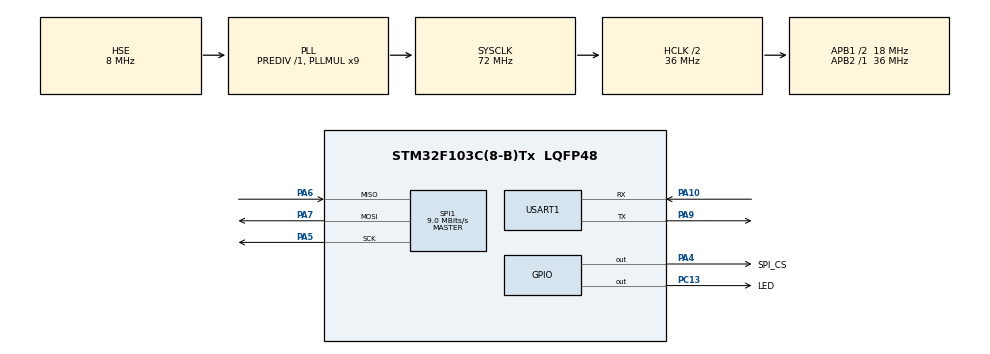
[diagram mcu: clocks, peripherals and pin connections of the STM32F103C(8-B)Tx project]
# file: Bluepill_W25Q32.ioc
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Mcu.Family=STM32F1
Mcu.Name=STM32F103C(8-B)Tx
Mcu.Package=LQFP48
NVIC.PriorityGroup=NVIC_PRIORITYGROUP_4
PA10.Mode=Asynchronous
PA10.Signal=USART1_RX
PA4.GPIO_Label=SPI_CS
PA4.GPIO_ModeDefaultOutputPP=GPIO_MODE_OUTPUT_PP
PA4.GPIO_PuPd=GPIO_NOPULL
PA4.Signal=GPIO_Output
PA5.Mode=Full_Duplex_Master
PA5.Signal=SPI1_SCK
PA6.Mode=Full_Duplex_Master
PA6.Signal=SPI1_MISO
PA7.Mode=Full_Duplex_Master
PA7.Signal=SPI1_MOSI
PA9.Mode=Asynchronous
PA9.Signal=USART1_TX
PC13-TAMPER-RTC.GPIO_Label=LED
PC13-TAMPER-RTC.GPIO_ModeDefaultOutputPP=GPIO_MODE_OUTPUT_OD
PC13-TAMPER-RTC.GPIO_PuPd=GPIO_NOPULL
PC13-TAMPER-RTC.PinState=GPIO_PIN_SET
PC13-TAMPER-RTC.Signal=GPIO_Output
PD0-OSC_IN.Mode=HSE-External-Oscillator
PD0-OSC_IN.Signal=RCC_OSC_IN
PD1-OSC_OUT.Mode=HSE-External-Oscillator
PD1-OSC_OUT.Signal=RCC_OSC_OUT
ProjectManager.HeapSize=0x200
ProjectManager.StackSize=0x400
ProjectManager.TargetToolchain=STM32CubeIDE
RCC.AHBCLKDivider=RCC_SYSCLK_DIV2
RCC.AHBFreq_Value=36000000
RCC.APB1CLKDivider=RCC_HCLK_DIV2
RCC.APB1Freq_Value=18000000
RCC.APB1TimFreq_Value=36000000
RCC.APB2Freq_Value=36000000
RCC.APB2TimFreq_Value=36000000
RCC.HCLKFreq_Value=36000000
RCC.PLLMUL=RCC_PLL_MUL9
RCC.PLLSourceVirtual=RCC_PLLSOURCE_HSE
RCC.SYSCLKFreq_VALUE=72000000
RCC.SYSCLKSource=RCC_SYSCLKSOURCE_PLLCLK
RCC.USBFreq_Value=72000000
SPI1.BaudRatePrescaler=SPI_BAUDRATEPRESCALER_4
SPI1.CalculateBaudRate=9.0 MBits/s
SPI1.Direction=SPI_DIRECTION_2LINES
SPI1.Mode=SPI_MODE_MASTER
SPI1.VirtualType=VM_MASTER
USART1.VirtualMode=VM_ASYNC
VP_SYS_VS_ND.Mode=No_Debug
board=custom

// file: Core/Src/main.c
/* USER CODE BEGIN Header */
/**
  ******************************************************************************
  * @file           : main.c
  * @brief          : Main program body
  ******************************************************************************
  * @attention
  *
  * Copyright (c) 2026 STMicroelectronics.
  * All rights reserved.
  *
  * This software is licensed under terms that can be found in the LICENSE file
  * in the root directory of this software component.
  * If no LICENSE file comes with this software, it is provided AS-IS.
  *
  ******************************************************************************
  */
/* USER CODE END Header */
#include "main.h"

/* USER CODE BEGIN Includes */
#include "W25Q32.h"
#include <stdio.h>
#include <string.h>
/* USER CODE END Includes */

SPI_HandleTypeDef hspi1;

UART_HandleTypeDef huart1;

void SystemClock_Config(void);
static void MX_GPIO_Init(void);
static void MX_SPI1_Init(void);
static void MX_USART1_UART_Init(void);

/* USER CODE BEGIN 0 */
int _write(int fd, char *ptr, int len) {
    HAL_StatusTypeDef hstatus;

    if (fd == 1 || fd == 2) {
        hstatus = HAL_UART_Transmit(&huart1, (uint8_t*) ptr, len, HAL_MAX_DELAY);
        if (hstatus == HAL_OK)
            return len;
        else
            return -1;
    }
    return -1;
}

/* USER CODE END 0 */

int main(void)
{

  /* MCU Configuration--------------------------------------------------------*/

  /* Reset of all peripherals, Initializes the Flash interface and the Systick. */
  HAL_Init();

  /* Configure the system clock */
  SystemClock_Config();

  /* Initialize all configured peripherals */
  MX_GPIO_Init();
  MX_SPI1_Init();
  MX_USART1_UART_Init();
  /* USER CODE BEGIN 2 */
  printf("------Start------\r\n");

  W25Q32_init();
  uint32_t flashID;
  flashID=W25Q32_ReadID();
  W25_DBG("Flash JEDEC ID= %#lX\r\n\n\n", flashID);

  //Writing and reading test data
  uint8_t test_data_write[64]="The name is Kishan, Jagakishan.";
  uint8_t test_data_recieve_buffer[64];

  HAL_Delay(1000);
  W25_DBG("Sector erasing...\r\n");
  W25Q32_SectorErase(0x000000);
  W25_DBG("Sector erased at 0x000000\r\n\n\n");

  HAL_Delay(1000);
  W25_DBG("Writing test data....\r\n");
  W25Q32_Write(0x000000, test_data_write, 64);
  W25_DBG("Test data written!\r\n\n\n");

  HAL_Delay(1000);
  W25_DBG("Receiving test data....\r\n");
  W25Q32_Read(0x000000, test_data_recieve_buffer, 64);
  W25_DBG("Received data!\r\n\n\n");

  HAL_Delay(1000);
  if(memcmp(test_data_write, test_data_recieve_buffer, 64) == 0) {
	W25_DBG("SUCCESS: Data matches!\r\n");
	W25_DBG("Read: %s\r\n\n\n", test_data_recieve_buffer);
  } else {
	W25_DBG("FAIL: Data mismatch!\r\n");
	W25_DBG("Expected: %s\r\n\n\n", test_data_recieve_buffer);
  }

  //Writing and reading a whole page
  uint8_t page_write_buffer[256];
  uint8_t page_read_buffer[16];

  for(uint16_t i=0;i<256;i++){
	  page_write_buffer[i]=(uint8_t)i;
  }

  W25_DBG("Sector erasing...\r\n");
  W25Q32_SectorErase(0x001000);
  W25_DBG("Sector erased at 0x001000\r\n\n\n"); //Second sector

  HAL_Delay(1000);
  W25_DBG("Writing test data....\r\n");
  W25Q32_Write(0x001000, page_write_buffer, 256);
  W25_DBG("Test data written!\r\n\n\n");

  HAL_Delay(1000);
  W25_DBG("Receiving test data....\r\n");
  W25Q32_Read(0x001000, page_read_buffer, 16);
  W25_DBG("Received data!\r\n\n\n");

  HAL_Delay(1000);
  for(uint8_t i=0;i<16;i++){
	  W25_DBG("%u\t",page_read_buffer[i]);
  }
  W25_DBG("\r\n\n\n");

  uint32_t now=0, nextBlink=1000;
  /* USER CODE END 2 */

  /* Infinite loop */
  /* USER CODE BEGIN WHILE */
  while (1)
  {
	  now=uwTick;

	  if(now>=nextBlink){
		  HAL_GPIO_TogglePin(LED_GPIO_Port, LED_Pin);
		  printf("Current time: %lu s\r\n", now/1000);
		  nextBlink+=1000;
	  }

    /* USER CODE END WHILE */

  }
}

void SystemClock_Config(void)
{
  RCC_OscInitTypeDef RCC_OscInitStruct = {0};
  RCC_ClkInitTypeDef RCC_ClkInitStruct = {0};

  /** Initializes the RCC Oscillators according to the specified parameters
  * in the RCC_OscInitTypeDef structure.
  */
  RCC_OscInitStruct.OscillatorType = RCC_OSCILLATORTYPE_HSE;
  RCC_OscInitStruct.HSEState = RCC_HSE_ON;
  RCC_OscInitStruct.HSEPredivValue = RCC_HSE_PREDIV_DIV1;
  RCC_OscInitStruct.HSIState = RCC_HSI_ON;
  RCC_OscInitStruct.PLL.PLLState = RCC_PLL_ON;
  RCC_OscInitStruct.PLL.PLLSource = RCC_PLLSOURCE_HSE;
  RCC_OscInitStruct.PLL.PLLMUL = RCC_PLL_MUL9;
  if (HAL_RCC_OscConfig(&RCC_OscInitStruct) != HAL_OK)
  {
    Error_Handler();
  }

  /** Initializes the CPU, AHB and APB buses clocks
  */
  RCC_ClkInitStruct.ClockType = RCC_CLOCKTYPE_HCLK|RCC_CLOCKTYPE_SYSCLK
                              |RCC_CLOCKTYPE_PCLK1|RCC_CLOCKTYPE_PCLK2;
  RCC_ClkInitStruct.SYSCLKSource = RCC_SYSCLKSOURCE_PLLCLK;
  RCC_ClkInitStruct.AHBCLKDivider = RCC_SYSCLK_DIV2;
  RCC_ClkInitStruct.APB1CLKDivider = RCC_HCLK_DIV2;
  RCC_ClkInitStruct.APB2CLKDivider = RCC_HCLK_DIV1;

  if (HAL_RCC_ClockConfig(&RCC_ClkInitStruct, FLASH_LATENCY_2) != HAL_OK)
  {
    Error_Handler();
  }
}

static void MX_SPI1_Init(void)
{

  /* SPI1 parameter configuration*/
  hspi1.Instance = SPI1;
  hspi1.Init.Mode = SPI_MODE_MASTER;
  hspi1.Init.Direction = SPI_DIRECTION_2LINES;
  hspi1.Init.DataSize = SPI_DATASIZE_8BIT;
  hspi1.Init.CLKPolarity = SPI_POLARITY_LOW;
  hspi1.Init.CLKPhase = SPI_PHASE_1EDGE;
  hspi1.Init.NSS = SPI_NSS_SOFT;
  hspi1.Init.BaudRatePrescaler = SPI_BAUDRATEPRESCALER_4;
  hspi1.Init.FirstBit = SPI_FIRSTBIT_MSB;
  hspi1.Init.TIMode = SPI_TIMODE_DISABLE;
  hspi1.Init.CRCCalculation = SPI_CRCCALCULATION_DISABLE;
  hspi1.Init.CRCPolynomial = 10;
  if (HAL_SPI_Init(&hspi1) != HAL_OK)
  {
    Error_Handler();
  }

}

static void MX_USART1_UART_Init(void)
{

  huart1.Instance = USART1;
  huart1.Init.BaudRate = 115200;
  huart1.Init.WordLength = UART_WORDLENGTH_8B;
  huart1.Init.StopBits = UART_STOPBITS_1;
  huart1.Init.Parity = UART_PARITY_NONE;
  huart1.Init.Mode = UART_MODE_TX_RX;
  huart1.Init.HwFlowCtl = UART_HWCONTROL_NONE;
  huart1.Init.OverSampling = UART_OVERSAMPLING_16;
  if (HAL_UART_Init(&huart1) != HAL_OK)
  {
    Error_Handler();
  }

}

static void MX_GPIO_Init(void)
{
  GPIO_InitTypeDef GPIO_InitStruct = {0};

  /* GPIO Ports Clock Enable */
  __HAL_RCC_GPIOC_CLK_ENABLE();
  __HAL_RCC_GPIOD_CLK_ENABLE();
  __HAL_RCC_GPIOA_CLK_ENABLE();

  /*Configure GPIO pin Output Level */
  HAL_GPIO_WritePin(LED_GPIO_Port, LED_Pin, GPIO_PIN_SET);

  /*Configure GPIO pin Output Level */
  HAL_GPIO_WritePin(SPI_CS_GPIO_Port, SPI_CS_Pin, GPIO_PIN_RESET);

  /*Configure GPIO pin : LED_Pin */
  GPIO_InitStruct.Pin = LED_Pin;
  GPIO_InitStruct.Mode = GPIO_MODE_OUTPUT_OD;
  GPIO_InitStruct.Pull = GPIO_NOPULL;
  GPIO_InitStruct.Speed = GPIO_SPEED_FREQ_LOW;
  HAL_GPIO_Init(LED_GPIO_Port, &GPIO_InitStruct);

  /*Configure GPIO pin : SPI_CS_Pin */
  GPIO_InitStruct.Pin = SPI_CS_Pin;
  GPIO_InitStruct.Mode = GPIO_MODE_OUTPUT_PP;
  GPIO_InitStruct.Pull = GPIO_NOPULL;
  GPIO_InitStruct.Speed = GPIO_SPEED_FREQ_LOW;
  HAL_GPIO_Init(SPI_CS_GPIO_Port, &GPIO_InitStruct);

}

void Error_Handler(void)
{
  __disable_irq();
  while (1)
  {
  }
}
